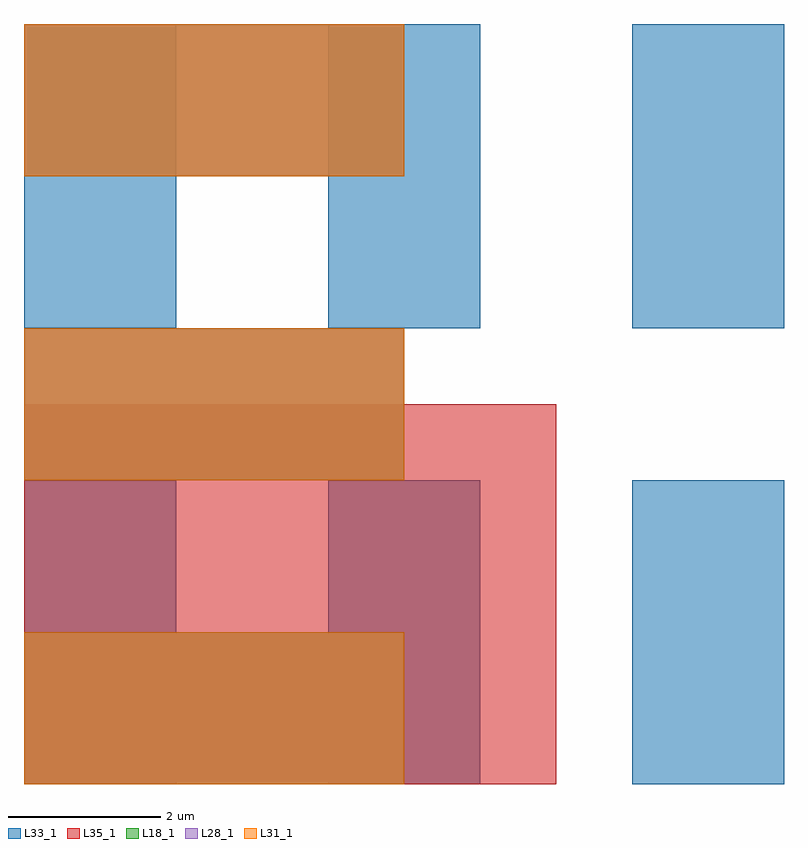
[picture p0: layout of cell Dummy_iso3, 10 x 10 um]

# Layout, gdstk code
import gdstk
lib = gdstk.Library(unit=1e-6, precision=1e-09)
def R(c, l, rs):  # rectangles x0, y0, x1, y1
    for r in rs: c.add(gdstk.rectangle(r[:2], r[2:], *l))
def A(c, l, x, y, w, h, nx, ny, dx, dy):  # array of equal rectangles
    R(c, l, [(x+i*dx, y+j*dy, x+i*dx+w, y+j*dy+h) for i in range(nx) for j in range(ny)])
L18_1 = (18, 1)
L28_1 = (28, 1)
L31_1 = (31, 1)
L33_1 = (33, 1)
L35_1 = (35, 1)

dummy_iso3 = lib.new_cell('Dummy_iso3')
A(dummy_iso3, L18_1, -1.39, -0.445, 5, 2, 1, 3, 0, 4)
A(dummy_iso3, L28_1, -1.39, -0.445, 5, 2, 1, 3, 0, 4)
A(dummy_iso3, L31_1, -1.39, -0.445, 5, 2, 1, 3, 0, 4)
A(dummy_iso3, L33_1, -1.39, -0.445, 2, 4, 3, 2, 4, 6)
R(dummy_iso3, L35_1, [(-1.39,-0.445,5.61,4.555)])

lib.write_gds('Dummy_iso3.gds')
